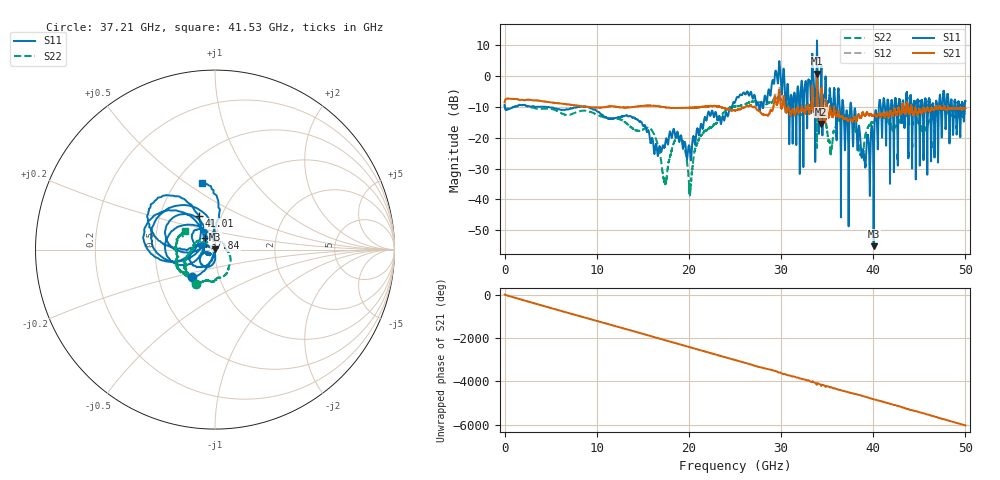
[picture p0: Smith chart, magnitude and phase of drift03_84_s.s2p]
!Created with skrf (http://scikit-rf.org).
# Hz S RI R 50.0
!freq ReS11 ImS11 ReS21 ImS21 ReS12 ImS12 ReS22 ImS22
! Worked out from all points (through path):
!   10001 points, 300 kHz to 50 GHz, reference 50 ohm
!   highest |S21| = 0.83 dB at 33.9 GHz (marker M1); lowest = -15.5 dB at 34.32 GHz (marker M2)
!   group delay of S21, straight-line fit = 335 ps
!   lowest |S11| = -55.2 dB at 40.05 GHz (marker M3), VSWR 1.00, Z = 49.9 + j0.131 ohm
!   |S11| at or under -10 dB: 4.476 GHz to 7.934 GHz (3.458 GHz wide, 55.7 % of centre); 9.042 GHz to 24.7 GHz (15.65 GHz wide, 92.8 % of centre); 37.62 GHz to 40.61 GHz (2.994 GHz wide, 7.65 % of centre) (the widest 3 of 61)
!   |S22| runs from -39.1 to -5.8 dB; largest |S21 - S12| = 0.11
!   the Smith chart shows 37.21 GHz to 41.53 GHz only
!   S11 on the Smith chart (normalised r, x): 37.21 GHz: 0.74, -0.24; 37.84 GHz: 0.89, +0.12; 41.01 GHz: 0.78, +0.31; 41.53 GHz: 0.66, +0.58
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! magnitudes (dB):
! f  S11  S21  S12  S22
! 300 kHz  -9.3  -8.5  -8.5  -9.4
! 8.335 GHz  -9.9  -9.8  -9.7  -11.3
! 16.67 GHz  -25.4  -9.8  -9.8  -22.9
! 17.41 GHz  -22.3  -10.1  -10.1  -34.6
! 19.1 GHz  -19.4  -10.3  -10.3  -20.2
! 20.14 GHz  -25.2  -10.3  -10.3  -38.1
! 21.23 GHz  -16.9  -10.1  -10.1  -19.5
! 25 GHz  -8.5  -11.1  -11.1  -9.8
! 29.66 GHz  -2.3  -8.3  -8.4  -7.1
! 31.08 GHz  -6.1  -12.6  -12.7  -10.5
! 33.34 GHz  0.6  -7.4  -7.5  -9.4
! 33.9 GHz  11.6  0.8  0.4  -23.3
! 34.32 GHz  -2.9  -15.5  -14.9  -11.2
! 35.35 GHz  -7.4  -10.9  -10.3  -25.0
! 37.21 GHz  -14.0  -14.2  -14.3  -13.1
! 37.84 GHz  -21.3  -14.4  -14.3  -14.5
! 38.71 GHz  -25.4  -13.3  -13.1  -25.3
! 40.05 GHz  -55.2  -12.7  -12.7  -15.1
! 41.01 GHz  -13.6  -12.1  -12.1  -13.1
! 41.53 GHz  -8.4  -12.2  -12.2  -14.1
! 41.67 GHz  -9.5  -13.2  -13.2  -14.9
! 50 GHz  -8.0  -10.5  -10.5  -12.1
